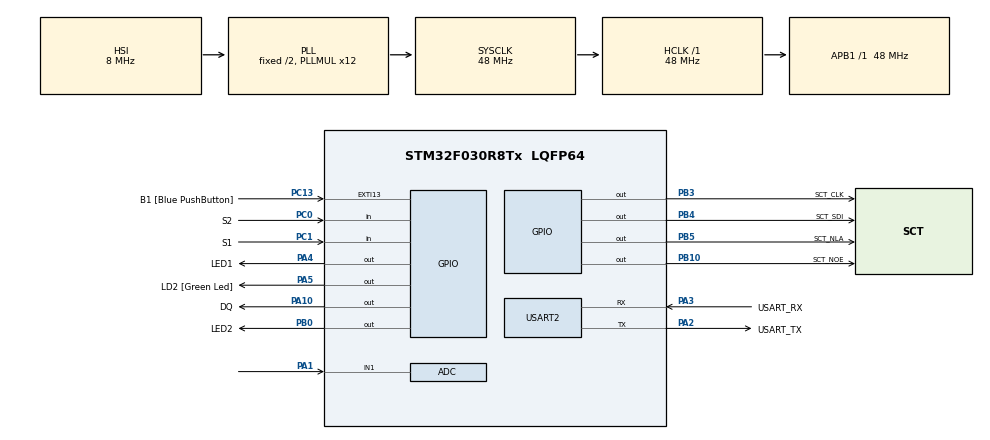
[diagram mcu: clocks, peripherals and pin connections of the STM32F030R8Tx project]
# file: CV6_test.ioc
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ADC.ContinuousConvMode=ENABLE
ADC.Resolution=ADC_RESOLUTION_10B
Mcu.Family=STM32F0
Mcu.Name=STM32F030R8Tx
Mcu.Package=LQFP64
PA1.Mode=IN1
PA1.Signal=ADC_IN1
PA10.GPIO_Label=DQ
PA10.GPIO_ModeDefaultOutputPP=GPIO_MODE_OUTPUT_OD
PA10.GPIO_PuPd=GPIO_NOPULL
PA10.PinState=GPIO_PIN_SET
PA10.Signal=GPIO_Output
PA13.GPIO_Label=TMS
PA13.Mode=Serial_Wire
PA13.Signal=SYS_SWDIO
PA14.GPIO_Label=TCK
PA14.Mode=Serial_Wire
PA14.Signal=SYS_SWCLK
PA2.GPIO_Label=USART_TX
PA2.GPIO_Mode=GPIO_MODE_AF_PP
PA2.GPIO_PuPd=GPIO_NOPULL
PA2.GPIO_Speed=GPIO_SPEED_FREQ_LOW
PA2.Mode=Asynchronous
PA2.Signal=USART2_TX
PA3.GPIO_Label=USART_RX
PA3.GPIO_Mode=GPIO_MODE_AF_PP
PA3.GPIO_PuPd=GPIO_NOPULL
PA3.GPIO_Speed=GPIO_SPEED_FREQ_LOW
PA3.Mode=Asynchronous
PA3.Signal=USART2_RX
PA4.GPIO_Label=LED1
PA4.Signal=GPIO_Output
PA5.GPIO_Label=LD2 [Green Led]
PA5.GPIO_Mode=GPIO_MODE_OUTPUT_PP
PA5.GPIO_PuPd=GPIO_NOPULL
PA5.GPIO_Speed=GPIO_SPEED_FREQ_LOW
PA5.Signal=GPIO_Output
PB0.GPIO_Label=LED2
PB0.Signal=GPIO_Output
PB10.GPIO_Label=SCT_NOE
PB10.Signal=GPIO_Output
PB3.GPIO_Label=SCT_CLK
PB3.Signal=GPIO_Output
PB4.GPIO_Label=SCT_SDI
PB4.Signal=GPIO_Output
PB5.GPIO_Label=SCT_NLA
PB5.Signal=GPIO_Output
PC0.GPIO_Label=S2
PC0.GPIO_PuPd=GPIO_PULLUP
PC0.Signal=GPIO_Input
PC1.GPIO_Label=S1
PC1.GPIO_PuPd=GPIO_PULLUP
PC1.Signal=GPIO_Input
PC13.GPIO_Label=B1 [Blue PushButton]
PC13.GPIO_ModeDefaultEXTI=GPIO_MODE_IT_FALLING
PC13.Signal=GPXTI13
PC14-OSC32_IN.Mode=LSE-External-Oscillator
PC14-OSC32_IN.Signal=RCC_OSC32_IN
PC15-OSC32_OUT.Mode=LSE-External-Oscillator
PC15-OSC32_OUT.Signal=RCC_OSC32_OUT
PF0-OSC_IN.Mode=HSE-External-Clock-Source
PF0-OSC_IN.Signal=RCC_OSC_IN
PF1-OSC_OUT.Signal=RCC_OSC_OUT
ProjectManager.HeapSize=0x200
ProjectManager.StackSize=0x400
ProjectManager.TargetToolchain=STM32CubeIDE
RCC.AHBFreq_Value=48000000
RCC.APB1Freq_Value=48000000
RCC.APB1TimFreq_Value=48000000
RCC.HCLKFreq_Value=48000000
RCC.PLLMUL=RCC_PLL_MUL12
RCC.SYSCLKFreq_VALUE=48000000
RCC.SYSCLKSource=RCC_SYSCLKSOURCE_PLLCLK
USART2.VirtualMode-Asynchronous=VM_ASYNC
board=NUCLEO-F030R8

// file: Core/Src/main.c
/* USER CODE BEGIN Header */
/**
  ******************************************************************************
  * @file           : main.c
  * @brief          : Main program body
  ******************************************************************************
  * @attention
  *
  * Copyright (c) 2025 STMicroelectronics.
  * All rights reserved.
  *
  * This software is licensed under terms that can be found in the LICENSE file
  * in the root directory of this software component.
  * If no LICENSE file comes with this software, it is provided AS-IS.
  *
  ******************************************************************************
  */
/* USER CODE END Header */
#include "main.h"

/* USER CODE BEGIN Includes */
#include "1wire.h"
#include "sct.h"
#include "ntc_lookup.h"

/* USER CODE END Includes */

ADC_HandleTypeDef hadc;

UART_HandleTypeDef huart2;

void SystemClock_Config(void);
static void MX_GPIO_Init(void);
static void MX_USART2_UART_Init(void);
static void MX_ADC_Init(void);
/* USER CODE BEGIN PFP */

static int16_t ntc_temp_x10(void);
static int16_t update_ds18b20(void);
static void update_source(void);

/* USER CODE END PFP */

/* USER CODE BEGIN 0 */

typedef enum {
    SRC_NTC = 0,
    SRC_DS18B20
} src_t;

static src_t src = SRC_DS18B20;

/* USER CODE END 0 */

int main(void)
{

  /* MCU Configuration--------------------------------------------------------*/

  /* Reset of all peripherals, Initializes the Flash interface and the Systick. */
  HAL_Init();

  /* Configure the system clock */
  SystemClock_Config();

  /* Initialize all configured peripherals */
  MX_GPIO_Init();
  MX_USART2_UART_Init();
  MX_ADC_Init();
  /* USER CODE BEGIN 2 */
  OWInit();
  HAL_ADCEx_Calibration_Start(&hadc);
  HAL_ADC_Start(&hadc);

  /* USER CODE END 2 */

  /* Infinite loop */
  /* USER CODE BEGIN WHILE */
  while (1)
  {

//	  OWConvertAll();
//	  HAL_Delay(750);
//	  int16_t temp_18b20;
//	  OWReadTemperature(&temp_18b20);
//
//	  int16_t temp_round = (temp_18b20 + 5) / 10;
//
//
//	  sct_value(temp_round, 0 ,2 );
//
//	  int16_t temp_1 = ntc_lookup[HAL_ADC_GetValue(&hadc)];
//
//	  sct_value(temp_1*10, 0 ,2 );

	    update_source();

	    int16_t t10;

	    if (src == SRC_NTC) {
	        t10 = ntc_temp_x10();
	        sct_value(t10, 0 ,2 );
	    } else {
	        update_ds18b20();     //max. 1× / 750ms
	        t10 = update_ds18b20();
	        sct_value(t10, 0 ,2 );
	    }

    /* USER CODE END WHILE */

  }
}

void SystemClock_Config(void)
{
  RCC_OscInitTypeDef RCC_OscInitStruct = {0};
  RCC_ClkInitTypeDef RCC_ClkInitStruct = {0};

  /** Initializes the RCC Oscillators according to the specified parameters
  * in the RCC_OscInitTypeDef structure.
  */
  RCC_OscInitStruct.OscillatorType = RCC_OSCILLATORTYPE_HSI|RCC_OSCILLATORTYPE_HSI14;
  RCC_OscInitStruct.HSIState = RCC_HSI_ON;
  RCC_OscInitStruct.HSI14State = RCC_HSI14_ON;
  RCC_OscInitStruct.HSICalibrationValue = RCC_HSICALIBRATION_DEFAULT;
  RCC_OscInitStruct.HSI14CalibrationValue = 16;
  RCC_OscInitStruct.PLL.PLLState = RCC_PLL_ON;
  RCC_OscInitStruct.PLL.PLLSource = RCC_PLLSOURCE_HSI;
  RCC_OscInitStruct.PLL.PLLMUL = RCC_PLL_MUL12;
  RCC_OscInitStruct.PLL.PREDIV = RCC_PREDIV_DIV1;
  if (HAL_RCC_OscConfig(&RCC_OscInitStruct) != HAL_OK)
  {
    Error_Handler();
  }

  /** Initializes the CPU, AHB and APB buses clocks
  */
  RCC_ClkInitStruct.ClockType = RCC_CLOCKTYPE_HCLK|RCC_CLOCKTYPE_SYSCLK
                              |RCC_CLOCKTYPE_PCLK1;
  RCC_ClkInitStruct.SYSCLKSource = RCC_SYSCLKSOURCE_PLLCLK;
  RCC_ClkInitStruct.AHBCLKDivider = RCC_SYSCLK_DIV1;
  RCC_ClkInitStruct.APB1CLKDivider = RCC_HCLK_DIV1;

  if (HAL_RCC_ClockConfig(&RCC_ClkInitStruct, FLASH_LATENCY_1) != HAL_OK)
  {
    Error_Handler();
  }
}

static void MX_ADC_Init(void)
{

  ADC_ChannelConfTypeDef sConfig = {0};

  /** Configure the global features of the ADC (Clock, Resolution, Data Alignment and number of conversion)
  */
  hadc.Instance = ADC1;
  hadc.Init.ClockPrescaler = ADC_CLOCK_ASYNC_DIV1;
  hadc.Init.Resolution = ADC_RESOLUTION_10B;
  hadc.Init.DataAlign = ADC_DATAALIGN_RIGHT;
  hadc.Init.ScanConvMode = ADC_SCAN_DIRECTION_FORWARD;
  hadc.Init.EOCSelection = ADC_EOC_SINGLE_CONV;
  hadc.Init.LowPowerAutoWait = DISABLE;
  hadc.Init.LowPowerAutoPowerOff = DISABLE;
  hadc.Init.ContinuousConvMode = ENABLE;
  hadc.Init.DiscontinuousConvMode = DISABLE;
  hadc.Init.ExternalTrigConv = ADC_SOFTWARE_START;
  hadc.Init.ExternalTrigConvEdge = ADC_EXTERNALTRIGCONVEDGE_NONE;
  hadc.Init.DMAContinuousRequests = DISABLE;
  hadc.Init.Overrun = ADC_OVR_DATA_PRESERVED;
  if (HAL_ADC_Init(&hadc) != HAL_OK)
  {
    Error_Handler();
  }

  /** Configure for the selected ADC regular channel to be converted.
  */
  sConfig.Channel = ADC_CHANNEL_1;
  sConfig.Rank = ADC_RANK_CHANNEL_NUMBER;
  sConfig.SamplingTime = ADC_SAMPLETIME_1CYCLE_5;
  if (HAL_ADC_ConfigChannel(&hadc, &sConfig) != HAL_OK)
  {
    Error_Handler();
  }

}

static void MX_USART2_UART_Init(void)
{

  huart2.Instance = USART2;
  huart2.Init.BaudRate = 38400;
  huart2.Init.WordLength = UART_WORDLENGTH_8B;
  huart2.Init.StopBits = UART_STOPBITS_1;
  huart2.Init.Parity = UART_PARITY_NONE;
  huart2.Init.Mode = UART_MODE_TX_RX;
  huart2.Init.HwFlowCtl = UART_HWCONTROL_NONE;
  huart2.Init.OverSampling = UART_OVERSAMPLING_16;
  huart2.Init.OneBitSampling = UART_ONE_BIT_SAMPLE_DISABLE;
  huart2.AdvancedInit.AdvFeatureInit = UART_ADVFEATURE_NO_INIT;
  if (HAL_UART_Init(&huart2) != HAL_OK)
  {
    Error_Handler();
  }

}

static void MX_GPIO_Init(void)
{
  GPIO_InitTypeDef GPIO_InitStruct = {0};

  /* GPIO Ports Clock Enable */
  __HAL_RCC_GPIOC_CLK_ENABLE();
  __HAL_RCC_GPIOF_CLK_ENABLE();
  __HAL_RCC_GPIOA_CLK_ENABLE();
  __HAL_RCC_GPIOB_CLK_ENABLE();

  /*Configure GPIO pin Output Level */
  HAL_GPIO_WritePin(GPIOA, LED1_Pin|LD2_Pin, GPIO_PIN_RESET);

  /*Configure GPIO pin Output Level */
  HAL_GPIO_WritePin(GPIOB, LED2_Pin|SCT_NOE_Pin|SCT_CLK_Pin|SCT_SDI_Pin
                          |SCT_NLA_Pin, GPIO_PIN_RESET);

  /*Configure GPIO pin Output Level */
  HAL_GPIO_WritePin(DQ_GPIO_Port, DQ_Pin, GPIO_PIN_SET);

  /*Configure GPIO pin : B1_Pin */
  GPIO_InitStruct.Pin = B1_Pin;
  GPIO_InitStruct.Mode = GPIO_MODE_IT_FALLING;
  GPIO_InitStruct.Pull = GPIO_NOPULL;
  HAL_GPIO_Init(B1_GPIO_Port, &GPIO_InitStruct);

  /*Configure GPIO pins : S2_Pin S1_Pin */
  GPIO_InitStruct.Pin = S2_Pin|S1_Pin;
  GPIO_InitStruct.Mode = GPIO_MODE_INPUT;
  GPIO_InitStruct.Pull = GPIO_PULLUP;
  HAL_GPIO_Init(GPIOC, &GPIO_InitStruct);

  /*Configure GPIO pins : LED1_Pin LD2_Pin */
  GPIO_InitStruct.Pin = LED1_Pin|LD2_Pin;
  GPIO_InitStruct.Mode = GPIO_MODE_OUTPUT_PP;
  GPIO_InitStruct.Pull = GPIO_NOPULL;
  GPIO_InitStruct.Speed = GPIO_SPEED_FREQ_LOW;
  HAL_GPIO_Init(GPIOA, &GPIO_InitStruct);

  /*Configure GPIO pins : LED2_Pin SCT_NOE_Pin SCT_CLK_Pin SCT_SDI_Pin
                           SCT_NLA_Pin */
  GPIO_InitStruct.Pin = LED2_Pin|SCT_NOE_Pin|SCT_CLK_Pin|SCT_SDI_Pin
                          |SCT_NLA_Pin;
  GPIO_InitStruct.Mode = GPIO_MODE_OUTPUT_PP;
  GPIO_InitStruct.Pull = GPIO_NOPULL;
  GPIO_InitStruct.Speed = GPIO_SPEED_FREQ_LOW;
  HAL_GPIO_Init(GPIOB, &GPIO_InitStruct);

  /*Configure GPIO pin : DQ_Pin */
  GPIO_InitStruct.Pin = DQ_Pin;
  GPIO_InitStruct.Mode = GPIO_MODE_OUTPUT_OD;
  GPIO_InitStruct.Pull = GPIO_NOPULL;
  GPIO_InitStruct.Speed = GPIO_SPEED_FREQ_LOW;
  HAL_GPIO_Init(DQ_GPIO_Port, &GPIO_InitStruct);

}

/* USER CODE BEGIN 4 */

static int16_t ntc_temp_x10(void){
    uint16_t adc = HAL_ADC_GetValue(&hadc); // 0..1023 (10 bit)
    if (adc > 1023) adc = 1023;             // index protection
    return ntc_lookup[adc];                  // ×10 C
}

static void update_source(void){
	static uint32_t lastBtnCheck = 0;
    if (HAL_GetTick() - lastBtnCheck < 50) return;  // debounce 50ms
    lastBtnCheck = HAL_GetTick();

    GPIO_PinState s1 = HAL_GPIO_ReadPin(GPIOC, S1_Pin); // DS18B20
    GPIO_PinState s2 = HAL_GPIO_ReadPin(GPIOC, S2_Pin); // NTC

    if (s2 == GPIO_PIN_RESET) src = SRC_NTC;
    if (s1 == GPIO_PIN_RESET) src = SRC_DS18B20;

    HAL_GPIO_WritePin(LED1_GPIO_Port, LED1_Pin, (src == SRC_NTC));
    HAL_GPIO_WritePin(LED2_GPIO_Port, LED2_Pin, (src == SRC_DS18B20));
}

static int16_t update_ds18b20(void){
	static uint32_t lastDS18B20Conv = 0;
	static int16_t ret_val = 0;
    if (HAL_GetTick() - lastDS18B20Conv >= 750){

        int16_t t_centi;

        if (OWReadTemperature(&t_centi)) {
            // convert ×10°C

            //rounding for negative and positive temp
//        	uint8_t round_t = 0;
//        	if (t_centi < 0){
//        		round_t = -5;
//        	}else{
//        		round_t = +5;
//        	}
        	ret_val = (t_centi + (t_centi < 0 ? 5 : -5)) / 10;
//            ret_val = (t_centi + round_t) / 10;
        }
        OWConvertAll();                // start measure
        lastDS18B20Conv = HAL_GetTick();
    }
    return ret_val;
}

/* USER CODE END 4 */

void Error_Handler(void)
{
  __disable_irq();
  while (1)
  {
  }
}
